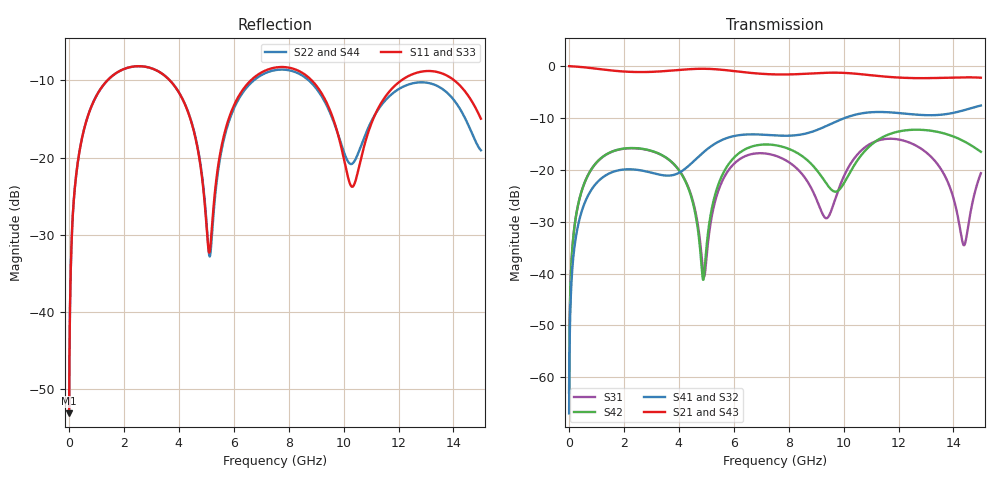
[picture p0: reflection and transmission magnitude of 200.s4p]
! Created with skrf 1.8.0 (http://scikit-rf.org).
# GHz S RI R 50.0
!freq ReS11 ImS11 ReS12 ImS12 ReS13 ImS13
! ReS14 ImS14
! ReS21 ImS21 ReS22 ImS22 ReS23 ImS23
! ReS24 ImS24
! ReS31 ImS31 ReS32 ImS32 ReS33 ImS33
! ReS34 ImS34
! ReS41 ImS41 ReS42 ImS42 ReS43 ImS43
! ReS44 ImS44
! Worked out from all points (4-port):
!   2499 points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, 5 MHz to 15 GHz, reference 50 ohm
!   strongest paths, dB at 5 MHz, 3.476 GHz, 7.19 GHz, 11.1 GHz, 15 GHz:
!     S21: 0.0, -1.0, -1.5, -1.8, -2.2
!     S43: 0.0, -1.0, -1.5, -1.8, -2.2
!     S41: -66.9, -21.1, -13.3, -8.9, -7.6
!     S32: -66.9, -21.1, -13.3, -8.9, -7.6
!     S42: -62.9, -17.4, -15.1, -14.8, -16.5
!     S31: -62.9, -17.5, -16.9, -14.7, -20.6
!   lowest |S11| = -53.2 dB at 5 MHz (marker M1), VSWR 1.00, Z = 50.2 + j0.133 ohm
!   |S11| at or under -10 dB: start of sweep to 1.399 GHz; 3.673 GHz to 6.623 GHz (2.95 GHz wide, 57.3 % of centre); 8.84 GHz to 12.1 GHz (3.262 GHz wide, 31.2 % of centre) (the widest 3 of 4)
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0.005  0.00175 0.00133  0.9982 -0.00341  8.87e-05 0.000707  -8.61e-05 -0.000441
       0.9982 -0.00341  0.00175 0.00133  -8.61e-05 -0.000441  8.87e-05 0.000707
       8.87e-05 0.000707  -8.61e-05 -0.000441  0.00175 0.00133  0.9982 -0.00341
       -8.61e-05 -0.000441  8.87e-05 0.000707  0.9982 -0.00341  0.00175 0.00133
0.3126303  0.0269 0.0868  0.9632 -0.2114  0.0126 0.0417  -0.0105 -0.0256
           0.9632 -0.2114  0.0269 0.0869  -0.0105 -0.0256  0.0127 0.0416
           0.0126 0.0417  -0.0105 -0.0256  0.0269 0.0869  0.9632 -0.2114
           -0.0105 -0.0256  0.0127 0.0416  0.9632 -0.2114  0.0269 0.0869
1.519383  0.2838 0.1714  0.5187 -0.7462  0.1351 0.0596  -0.0937 -0.000762
          0.5187 -0.7462  0.2833 0.1719  -0.0936 -0.000902  0.1363 0.058
          0.1351 0.0596  -0.0936 -0.000902  0.2838 0.1714  0.5187 -0.7462
          -0.0937 -0.000762  0.1363 0.058  0.5187 -0.7462  0.2832 0.1719
4.889537  0.0314 -0.0549  -0.9186 -0.2093  -0.00932 -0.00394  -0.027 0.1446
          -0.9186 -0.2093  0.0311 -0.0577  -0.029 0.1442  0.00864 -0.000985
          -0.00932 -0.00394  -0.029 0.1442  0.0301 -0.0541  -0.9187 -0.2091
          -0.027 0.1446  0.00864 -0.000985  -0.9187 -0.2091  0.0318 -0.0564
7.840767  0.3852 -0.02  -0.0423 0.8288  0.1133 -0.0548  0.2083 -0.0452
          -0.0423 0.8288  0.3712 -0.000846  0.2082 -0.0407  0.1203 -0.1127
          0.1133 -0.0548  0.2082 -0.0407  0.3876 -0.0193  -0.043 0.828
          0.2083 -0.0452  0.1203 -0.1127  -0.043 0.828  0.3724 -0.000465
10.62943  0.0821 0.053  0.8334 -0.0591  0.0413 0.1466  -0.0482 -0.3458
          0.8334 -0.0591  0.108 0.0485  -0.0396 -0.3467  0.0508 0.127
          0.0413 0.1466  -0.0396 -0.3467  0.0815 0.0513  0.8338 -0.0564
          -0.0482 -0.3458  0.0508 0.127  0.8338 -0.0564  0.1078 0.044
15  0.1254 -0.1271  -0.6728 -0.3803  0.0219 0.0902  -0.2001 0.3661
    -0.6728 -0.3803  0.111 -0.00981  -0.2164 0.3576  -0.1431 -0.0418
    0.0219 0.0902  -0.2164 0.3576  0.1179 -0.1359  -0.6692 -0.3847
    -0.2001 0.3661  -0.1431 -0.0418  -0.6692 -0.3847  0.1286 -0.00798
